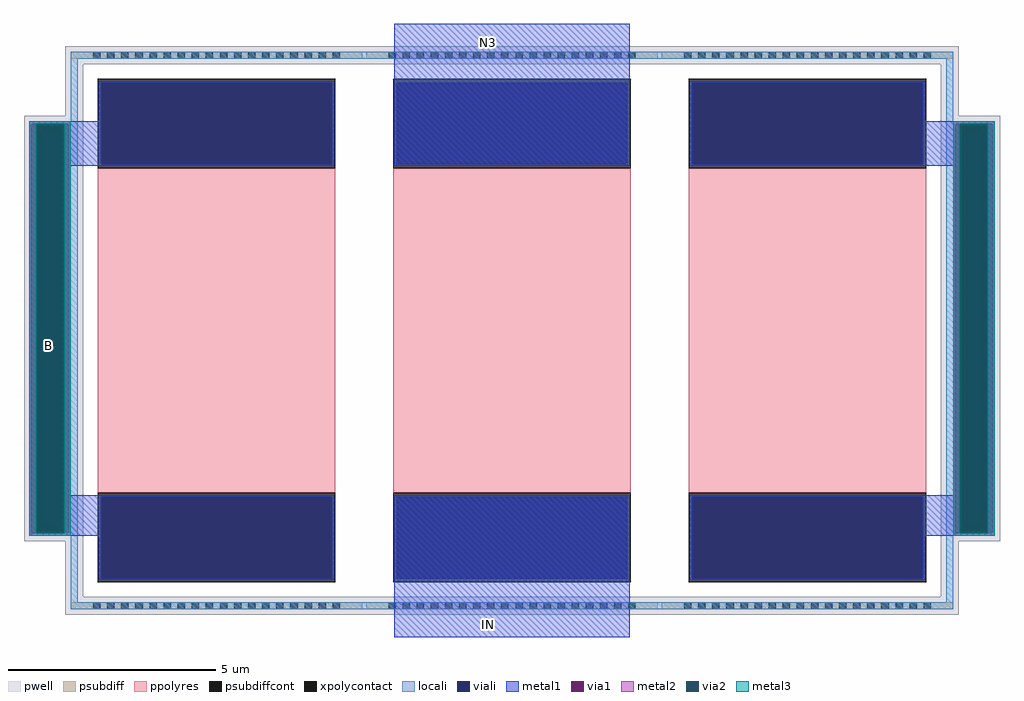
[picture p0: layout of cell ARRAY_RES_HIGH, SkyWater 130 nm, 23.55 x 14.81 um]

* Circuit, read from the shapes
.subckt ARRAY_RES_HIGH N3 IN B
XR1 B B B sky130_fd_pr__res_high_po w=5.73 l=7.84 m=2
XR2 N3 IN B sky130_fd_pr__res_high_po w=5.73 l=7.84
.ends

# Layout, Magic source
magic
tech sky130A
magscale 1 2
<< pwell >>
rect -752 1286 3558 1372
rect -752 -1286 -666 1286
rect 3472 -1286 3558 1286
rect -752 -1372 3558 -1286
<< locali >>
rect -726 1312 3532 1346
rect -726 -1312 -692 1312
rect 3498 -1312 3532 1312
rect -726 -1346 3532 -1312
<< metal1 >>
rect -726 795 -592 1010
rect 834 794 1972 1481
rect 3398 795 3532 1010
rect -882 -123 -782 -20
rect -726 -990 -592 -795
rect 834 -1481 1972 -794
rect 3398 -990 3532 -795
use sky130_fd_pr__res_high_po_5p73_DTWCRZ  sky130_fd_pr__res_high_po_5p73_DTWCRZ_0
array 0 2 1426 0 0 0
transform 1 0 -23 0 1 0
box -729 -1372 729 1372
use vias_gen$23  vias_gen$23_0
transform 1 0 -926 0 1 -990
box -26 -26 226 2026
use vias_gen$23  vias_gen$23_1
transform 1 0 3532 0 1 -990
box -26 -26 226 2026
<< labels >>
flabel metal1 s -882 -123 -782 -20 2 FreeSans 44 0 0 0 B
port 3 nsew
flabel metal1 s 1280 1380 1300 1400 2 FreeSans 44 0 0 0 N3
port 1 nsew
flabel metal1 s 1280 -1427 1300 -1407 2 FreeSans 44 0 0 0 IN
port 2 nsew
<< end >>

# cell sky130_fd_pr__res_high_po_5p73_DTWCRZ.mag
magic
tech sky130A
magscale 1 2
<< pwell >>
rect -729 1286 729 1372
rect -729 -1372 729 -1286
<< psubdiff >>
rect -703 1312 -595 1346
rect -561 1312 -527 1346
rect -493 1312 -459 1346
rect -425 1312 -391 1346
rect -357 1312 -323 1346
rect -289 1312 -255 1346
rect -221 1312 -187 1346
rect -153 1312 -119 1346
rect -85 1312 -51 1346
rect -17 1312 17 1346
rect 51 1312 85 1346
rect 119 1312 153 1346
rect 187 1312 221 1346
rect 255 1312 289 1346
rect 323 1312 357 1346
rect 391 1312 425 1346
rect 459 1312 493 1346
rect 527 1312 561 1346
rect 595 1312 703 1346
rect -703 -1346 -595 -1312
rect -561 -1346 -527 -1312
rect -493 -1346 -459 -1312
rect -425 -1346 -391 -1312
rect -357 -1346 -323 -1312
rect -289 -1346 -255 -1312
rect -221 -1346 -187 -1312
rect -153 -1346 -119 -1312
rect -85 -1346 -51 -1312
rect -17 -1346 17 -1312
rect 51 -1346 85 -1312
rect 119 -1346 153 -1312
rect 187 -1346 221 -1312
rect 255 -1346 289 -1312
rect 323 -1346 357 -1312
rect 391 -1346 425 -1312
rect 459 -1346 493 -1312
rect 527 -1346 561 -1312
rect 595 -1346 703 -1312
<< psubdiffcont >>
rect -595 1312 -561 1346
rect -527 1312 -493 1346
rect -459 1312 -425 1346
rect -391 1312 -357 1346
rect -323 1312 -289 1346
rect -255 1312 -221 1346
rect -187 1312 -153 1346
rect -119 1312 -85 1346
rect -51 1312 -17 1346
rect 17 1312 51 1346
rect 85 1312 119 1346
rect 153 1312 187 1346
rect 221 1312 255 1346
rect 289 1312 323 1346
rect 357 1312 391 1346
rect 425 1312 459 1346
rect 493 1312 527 1346
rect 561 1312 595 1346
rect -595 -1346 -561 -1312
rect -527 -1346 -493 -1312
rect -459 -1346 -425 -1312
rect -391 -1346 -357 -1312
rect -323 -1346 -289 -1312
rect -255 -1346 -221 -1312
rect -187 -1346 -153 -1312
rect -119 -1346 -85 -1312
rect -51 -1346 -17 -1312
rect 17 -1346 51 -1312
rect 85 -1346 119 -1312
rect 153 -1346 187 -1312
rect 221 -1346 255 -1312
rect 289 -1346 323 -1312
rect 357 -1346 391 -1312
rect 425 -1346 459 -1312
rect 493 -1346 527 -1312
rect 561 -1346 595 -1312
<< xpolycontact >>
rect -573 784 573 1216
rect -573 -1216 573 -784
<< ppolyres >>
rect -573 -784 573 784
<< locali >>
rect -703 1312 -595 1346
rect -561 1312 -527 1346
rect -493 1312 -459 1346
rect -425 1312 -391 1346
rect -357 1312 -323 1346
rect -289 1312 -255 1346
rect -221 1312 -187 1346
rect -153 1312 -119 1346
rect -85 1312 -51 1346
rect -17 1312 17 1346
rect 51 1312 85 1346
rect 119 1312 153 1346
rect 187 1312 221 1346
rect 255 1312 289 1346
rect 323 1312 357 1346
rect 391 1312 425 1346
rect 459 1312 493 1346
rect 527 1312 561 1346
rect 595 1312 703 1346
rect -703 -1346 -595 -1312
rect -561 -1346 -527 -1312
rect -493 -1346 -459 -1312
rect -425 -1346 -391 -1312
rect -357 -1346 -323 -1312
rect -289 -1346 -255 -1312
rect -221 -1346 -187 -1312
rect -153 -1346 -119 -1312
rect -85 -1346 -51 -1312
rect -17 -1346 17 -1312
rect 51 -1346 85 -1312
rect 119 -1346 153 -1312
rect 187 -1346 221 -1312
rect 255 -1346 289 -1312
rect 323 -1346 357 -1312
rect 391 -1346 425 -1312
rect 459 -1346 493 -1312
rect 527 -1346 561 -1312
rect 595 -1346 703 -1312
<< viali >>
rect -557 802 557 1196
rect -557 -1197 557 -803
<< metal1 >>
rect -569 1196 569 1204
rect -569 802 -557 1196
rect 557 802 569 1196
rect -569 795 569 802
rect -569 -803 569 -795
rect -569 -1197 -557 -803
rect 557 -1197 569 -803
rect -569 -1204 569 -1197
<< properties >>
string FIXED_BBOX -686 -1329 686 1329
<< end >>

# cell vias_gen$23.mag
magic
tech sky130A
magscale 1 2
<< pwell >>
rect -26 -26 226 2026
<< psubdiff >>
rect 0 1969 200 2000
rect 0 31 49 1969
rect 151 31 200 1969
rect 0 0 200 31
<< psubdiffcont >>
rect 49 31 151 1969
<< locali >>
rect 0 1969 200 2000
rect 0 1953 49 1969
rect 151 1953 200 1969
rect 0 47 47 1953
rect 153 47 200 1953
rect 0 31 49 47
rect 151 31 200 47
rect 0 0 200 31
<< viali >>
rect 47 47 49 1953
rect 49 47 151 1953
rect 151 47 153 1953
<< metal1 >>
rect 0 1986 200 2000
rect 0 14 10 1986
rect 190 14 200 1986
rect 0 0 200 14
<< via1 >>
rect 10 1953 190 1986
rect 10 47 47 1953
rect 47 47 153 1953
rect 153 47 190 1953
rect 10 14 190 47
<< metal2 >>
rect 0 1988 200 2000
rect 0 1986 32 1988
rect 168 1986 200 1988
rect 0 14 10 1986
rect 190 14 200 1986
rect 0 12 32 14
rect 168 12 200 14
rect 0 0 200 12
<< via2 >>
rect 32 1986 168 1988
rect 32 14 168 1986
rect 32 12 168 14
<< metal3 >>
rect 0 1988 200 2000
rect 0 12 32 1988
rect 168 12 200 1988
rect 0 0 200 12
<< end >>
